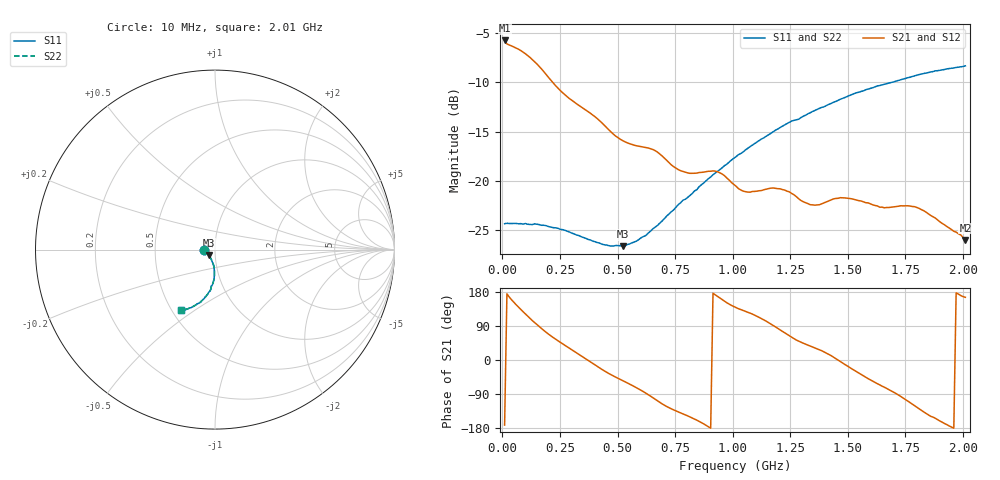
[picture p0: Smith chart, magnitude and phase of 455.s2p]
# MHz S MA R 50
!  freq  S11  S21  S12  S22
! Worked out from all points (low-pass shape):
!   200 points, 10 MHz to 2.01 GHz, reference 50 ohm
!   highest |S21| = -5.72 dB at 10 MHz (marker M1); lowest = -26.0 dB at 2.01 GHz (marker M2)
!   |S21| within 3 dB of the highest: start of sweep to 173.7 MHz
!   lowest |S11| = -26.7 dB at 522.6 MHz (marker M3), VSWR 1.10, Z = 46.7 - j3.07 ohm
!   |S11| at or under -10 dB: start of sweep to 1.688 GHz
!   |S22| runs from -26.7 to -8.3 dB; largest |S21 - S12| = 0.00065
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10  0.06042 -179.7  0.5176 -171.9  0.5177 -171.9  0.0604 -179.7
30.1005  0.06057 -178.9  0.4907 166.2  0.4908 166.2  0.06057 -178.8
60.25126  0.06056 -177.0  0.4735 145.7  0.474 145.7  0.06031 -177.1
90.40201  0.06016 -175.5  0.4514 127.3  0.4517 127.3  0.06022 -175.7
120.5528  0.0599 -174.7  0.4238 109.6  0.4241 109.6  0.05998 -174.8
170.804  0.0593 -172.9  0.3699 82.7  0.3697 82.6  0.05933 -172.8
221.0553  0.05769 -171.1  0.3145 59.2  0.3143 59.2  0.05758 -171.2
281.3568  0.05535 -167.2  0.2677 35.0  0.2678 35.1  0.05542 -167.2
351.7085  0.05139 -161.3  0.2333 7.6  0.2332 7.6  0.05144 -161.3
432.1106  0.04753 -150.4  0.1972 -24.8  0.1973 -24.7  0.04772 -150.3
522.5628  0.04642 -135.1  0.1599 -54.4  0.1599 -54.4  0.04666 -134.9
683.3668  0.06081 -108.2  0.1369 -111.7  0.1371 -111.7  0.06064 -108.2
773.8191  0.07716 -98.8  0.1124 -139.6  0.1122 -139.6  0.07747 -98.6
894.4221  0.1024 -92.6  0.1117 -175.8  0.1119 -175.9  0.1027 -92.7
1015.025  0.1327 -91.5  0.09363 137.9  0.09366 138.1  0.1323 -91.3
1065.276  0.1463 -91.4  0.08753 125.9  0.08762 125.9  0.1464 -91.5
1205.98  0.1866 -93.6  0.09096 79.4  0.09087 79.5  0.1867 -93.5
1346.683  0.2251 -96.3  0.07533 34.4  0.07522 34.4  0.225 -96.2
1487.387  0.2654 -101.0  0.08171 -12.0  0.08178 -12.1  0.2655 -100.9
1678.342  0.3139 -107.3  0.07306 -78.3  0.073 -78.2  0.3137 -107.4
1808.995  0.3471 -112.0  0.0723 -128.6  0.07224 -128.6  0.347 -111.9
2010  0.3843 -119.2  0.04988 165.4  0.05001 165.0  0.3832 -119.3
